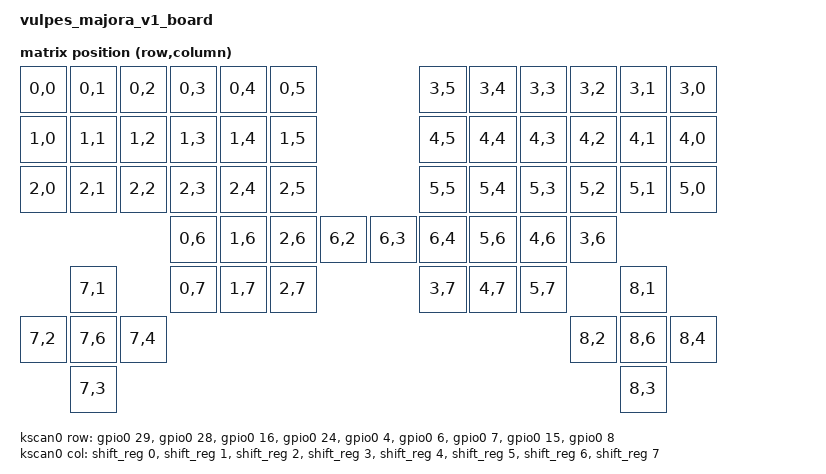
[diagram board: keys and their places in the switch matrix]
/*
 * Copyright (c) 2024, Sadek Baroudi
 * SPDX-License-Identifier: MIT
 */

/dts-v1/;

#include <rpi_pico/rp2040.dtsi>
#include "vulpes_majora_v1_board-pinctl.dtsi"
#include "vik_connector.dtsi"
#include <dt-bindings/zmk/matrix_transform.h>
#include <dt-bindings/led/led.h>
#include <freq.h>

/ {
    model = "vulpes_majora_v1_board";
    compatible = "vulpes_majora_v1_board", "raspberrypi,rp2040";

    chosen {
        zephyr,sram = &sram0;
        zephyr,flash = &flash0;
        zephyr,console = &cdc_acm_uart;
        zephyr,code-partition = &code_partition;
        zmk,matrix_transform = &default_transform;
        zmk,kscan = &kscan0;
        zmk,underglow = &led_strip;
    };

    xtal_clk: xtal-clk {
        compatible = "fixed-clock";
        clock-frequency = <12000000>;
        #clock-cells = <0>;
    };

    kscan0: kscan_0 {
        compatible = "zmk,kscan-gpio-matrix";
        diode-direction = "col2row";

        col-gpios
            = <&shift_reg 0 (GPIO_ACTIVE_HIGH)>
            , <&shift_reg 1 (GPIO_ACTIVE_HIGH)>
            , <&shift_reg 2 (GPIO_ACTIVE_HIGH)>
            , <&shift_reg 3 (GPIO_ACTIVE_HIGH)>
            , <&shift_reg 4 (GPIO_ACTIVE_HIGH)>
            , <&shift_reg 5 (GPIO_ACTIVE_HIGH)>
            , <&shift_reg 6 (GPIO_ACTIVE_HIGH)>
            , <&shift_reg 7 (GPIO_ACTIVE_HIGH)>
            ;

        row-gpios
            = <&gpio0 29 (GPIO_ACTIVE_HIGH | GPIO_PULL_DOWN)> // row 0
            , <&gpio0 28 (GPIO_ACTIVE_HIGH | GPIO_PULL_DOWN)> // row 1
            , <&gpio0 16 (GPIO_ACTIVE_HIGH | GPIO_PULL_DOWN)> // row 2
            , <&gpio0 24 (GPIO_ACTIVE_HIGH | GPIO_PULL_DOWN)> // row 3
            , <&gpio0 4  (GPIO_ACTIVE_HIGH | GPIO_PULL_DOWN)> // row 4
            , <&gpio0 6  (GPIO_ACTIVE_HIGH | GPIO_PULL_DOWN)> // row 5
            , <&gpio0 7  (GPIO_ACTIVE_HIGH | GPIO_PULL_DOWN)> // row 6
            , <&gpio0 15 (GPIO_ACTIVE_HIGH | GPIO_PULL_DOWN)> // row 7
            , <&gpio0 8  (GPIO_ACTIVE_HIGH | GPIO_PULL_DOWN)> // row 8
            ;
    };

    default_transform: keymap_transform_0 {
        compatible = "zmk,matrix-transform";
        columns = <8>;
        rows = <9>;

        map = <
            RC(0,0) RC(0,1) RC(0,2) RC(0,3) RC(0,4) RC(0,5)                             RC(3,5) RC(3,4) RC(3,3) RC(3,2) RC(3,1) RC(3,0)
            RC(1,0) RC(1,1) RC(1,2) RC(1,3) RC(1,4) RC(1,5)                             RC(4,5) RC(4,4) RC(4,3) RC(4,2) RC(4,1) RC(4,0)
            RC(2,0) RC(2,1) RC(2,2) RC(2,3) RC(2,4) RC(2,5)                             RC(5,5) RC(5,4) RC(5,3) RC(5,2) RC(5,1) RC(5,0)
                                    RC(0,6) RC(1,6) RC(2,6)   RC(6,2) RC(6,3) RC(6,4)   RC(5,6) RC(4,6) RC(3,6)
                    RC(7,1)         RC(0,7) RC(1,7) RC(2,7)                             RC(3,7) RC(4,7) RC(5,7)         RC(8,1)
            RC(7,2) RC(7,6) RC(7,4)                                                                             RC(8,2) RC(8,6) RC(8,4)
                    RC(7,3)                                                                                             RC(8,3)
        >;
    };

    // chiptuner0: chiptuner0 {
    //     status = "okay";
    //     // PWM pulled from https://docs.zephyrproject.org/apidoc/3.5.0/rpi-pico-rp2040-pinctrl_8h.html
    //     pwms = <&pwm_ch1a_default>;
    // };
};

#define VULPES_MAJORA_V1_BOARD_FLASH_SIZE_M 4

&flash0 {
    /* 8MB of flash minus the 0x100 used for
     * the second stage bootloader
     */
    reg = <0x10000000 DT_SIZE_M(VULPES_MAJORA_V1_BOARD_FLASH_SIZE_M)>;

    partitions {
        compatible = "fixed-partitions";
        #address-cells = <1>;
        #size-cells = <1>;

        /*
         * Start at the beginning of usable flash, VULPES_MAJORA_V1_BOARD_FLASH_SIZE_M MB minus the
         * second stage space and the 16 KiB reserved for settings
         */
        code_partition: partition@100 {
            label = "code";
            reg = <0x100 (DT_SIZE_M(VULPES_MAJORA_V1_BOARD_FLASH_SIZE_M) - 0x100)>;
            read-only;
        };
    };
};

&spi0 {
    status = "okay";
    cs-gpios = <&gpio0 5 GPIO_ACTIVE_LOW>;
    pinctrl-0 = <&spi0_default>;
    pinctrl-names = "default";
    clock-frequency = <DT_FREQ_M(2)>;

    shift_reg: 595@0 {
        compatible = "zmk,gpio-595";
        status = "okay";
        gpio-controller;
        spi-max-frequency = <200000>;
        reg = <0>;
        #gpio-cells = <2>;
        ngpios = <8>;
    };
};

&spi1 {
    status = "okay";
    cs-gpios = <&gpio0 25 GPIO_ACTIVE_LOW>;
    pinctrl-0 = <&spi1_default>;
    pinctrl-names = "default";
    clock-frequency = <DT_FREQ_M(2)>;

    led_strip: ws2812@0 {
        compatible = "worldsemi,ws2812-spi";

        /* SPI */
        reg = <0>; /* ignored, but necessary for SPI bindings */
        spi-max-frequency = <4000000>;

        /* WS2812 */
        chain-length = <45>;
        spi-one-frame = <0x70>;
        spi-zero-frame = <0x40>;
        color-mapping = <LED_COLOR_ID_GREEN
                         LED_COLOR_ID_RED
                         LED_COLOR_ID_BLUE>;
    };
};

&i2c1 {
    pinctrl-0 = <&i2c1_default>;
    pinctrl-names = "default";
    clock-frequency = <I2C_BITRATE_FAST>;
};

// for audio buzzer
&pwm {
    pinctrl-0 = <&pwm_ch1a_default>;
    pinctrl-names = "default";
    divider-int-0 = <255>;
};

&gpio0 {
    status = "okay";
};

zephyr_udc0: &usbd {
    status = "okay";
    cdc_acm_uart: cdc_acm_uart {
        compatible = "zephyr,cdc-acm-uart";
    };
};
